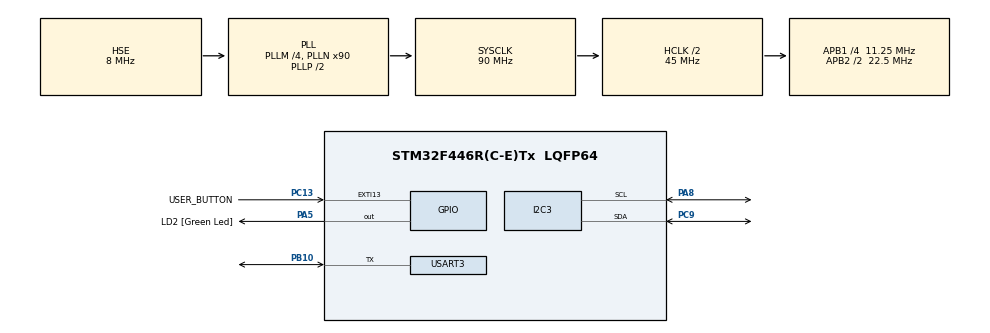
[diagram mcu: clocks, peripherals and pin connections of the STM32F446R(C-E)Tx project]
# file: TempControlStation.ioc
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Dma.I2C3_RX.0.Direction=DMA_PERIPH_TO_MEMORY
Dma.I2C3_RX.0.FIFOMode=DMA_FIFOMODE_DISABLE
Dma.I2C3_RX.0.Instance=DMA1_Stream1
Dma.I2C3_RX.0.MemDataAlignment=DMA_MDATAALIGN_BYTE
Dma.I2C3_RX.0.MemInc=DMA_MINC_ENABLE
Dma.I2C3_RX.0.Mode=DMA_NORMAL
Dma.I2C3_RX.0.PeriphDataAlignment=DMA_PDATAALIGN_BYTE
Dma.I2C3_RX.0.PeriphInc=DMA_PINC_DISABLE
Dma.I2C3_RX.0.Priority=DMA_PRIORITY_LOW
Dma.Request0=I2C3_RX
FREERTOS.Queues01=temperatureQueue,16,uint16_t,0,Dynamic,NULL,NULL
FREERTOS.Tasks01=thermometerTask,24,256,StartThermometerTask,Default,NULL,Dynamic,NULL,NULL;lcdTask,8,256,StartLcdTask,Default,NULL,Dynamic,NULL,NULL;pressureTask,23,256,StartPressureTask,Default,NULL,Dynamic,NULL,NULL
FREERTOS.configENABLE_FPU=1
FREERTOS.configUSE_OS2_MUTEX=0
FREERTOS.configUSE_OS2_TIMER=0
FREERTOS.configUSE_TICKLESS_IDLE=1
Mcu.Family=STM32F4
Mcu.Name=STM32F446R(C-E)Tx
Mcu.Package=LQFP64
NVIC.DMA1_Stream1_IRQn=true\:5\:0\:false\:false\:true\:true\:false\:true
NVIC.EXTI15_10_IRQn=true\:5\:0\:false\:false\:true\:true\:true\:true
NVIC.I2C3_EV_IRQn=true\:5\:0\:false\:false\:true\:true\:true\:true
NVIC.PriorityGroup=NVIC_PRIORITYGROUP_4
NVIC.TIM6_DAC_IRQn=true\:0\:0\:false\:false\:true\:false\:false\:true
NVIC.TimeBase=TIM6_DAC_IRQn
NVIC.TimeBaseIP=TIM6
PA13.GPIO_Label=TMS
PA13.Mode=Serial_Wire
PA13.Signal=SYS_JTMS-SWDIO
PA14.GPIO_Label=TCK
PA14.Mode=Serial_Wire
PA14.Signal=SYS_JTCK-SWCLK
PA5.GPIO_Label=LD2 [Green Led]
PA5.Signal=GPIO_Output
PA8.Mode=I2C
PA8.Signal=I2C3_SCL
PB10.GPIO_PuPd=GPIO_PULLUP
PB10.Mode=Half_duplex(single_wire_mode)
PB10.Signal=USART3_TX
PB3.GPIO_Label=SWO
PB3.Signal=SYS_JTDO-SWO
PC13.GPIO_Label=USER_BUTTON
PC13.GPIO_ModeDefaultEXTI=GPIO_MODE_IT_FALLING
PC13.Signal=GPXTI13
PC14-OSC32_IN.Mode=LSE-External-Oscillator
PC14-OSC32_IN.Signal=RCC_OSC32_IN
PC15-OSC32_OUT.Mode=LSE-External-Oscillator
PC15-OSC32_OUT.Signal=RCC_OSC32_OUT
PC9.Mode=I2C
PC9.Signal=I2C3_SDA
PH0-OSC_IN.Mode=HSE-External-Oscillator
PH0-OSC_IN.Signal=RCC_OSC_IN
PH1-OSC_OUT.Mode=HSE-External-Oscillator
PH1-OSC_OUT.Signal=RCC_OSC_OUT
ProjectManager.HeapSize=0x200
ProjectManager.StackSize=0x400
ProjectManager.TargetToolchain=Makefile
RCC.48MHZClocksFreq_Value=84000000
RCC.AHBCLKDivider=RCC_SYSCLK_DIV2
RCC.AHBFreq_Value=45000000
RCC.APB1CLKDivider=RCC_HCLK_DIV4
RCC.APB1Freq_Value=11250000
RCC.APB1TimFreq_Value=22500000
RCC.APB2CLKDivider=RCC_HCLK_DIV2
RCC.APB2Freq_Value=22500000
RCC.APB2TimFreq_Value=45000000
RCC.CortexFreq_Value=45000000
RCC.FLatency-AdvancedSettings=FLASH_LATENCY_1
RCC.HCLKFreq_Value=45000000
RCC.HSE_VALUE=8000000
RCC.HSI_VALUE=16000000
RCC.PLLM=4
RCC.PLLN=90
RCC.PLLSourceVirtual=RCC_PLLSOURCE_HSE
RCC.RCC_RTC_Clock_SourceVirtual=RCC_RTCCLKSOURCE_LSE
RCC.SYSCLKFreq_VALUE=90000000
RCC.SYSCLKSource=RCC_SYSCLKSOURCE_PLLCLK
RCC.USBFreq_Value=90000000
RCC.VCOOutputFreq_Value=180000000
USART3.BaudRate=9600
USART3.VirtualMode=VM_ASYNC
VP_FREERTOS_VS_CMSIS_V2.Mode=CMSIS_V2
VP_RTC_VS_RTC_Activate.Mode=RTC_Enabled
VP_RTC_VS_RTC_WakeUp_intern.Mode=WakeUp
VP_SYS_VS_tim6.Mode=TIM6
board=NUCLEO-F446RE

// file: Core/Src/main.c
/* USER CODE BEGIN Header */
/**
  ******************************************************************************
  * @file           : main.c
  * @brief          : Main program body
  ******************************************************************************
  * @attention
  *
  * <h2><center>&copy; Copyright (c) 2021 STMicroelectronics.
  * All rights reserved.</center></h2>
  *
  * This software component is licensed by ST under Ultimate Liberty license
  * SLA0044, the "License"; You may not use this file except in compliance with
  * the License. You may obtain a copy of the License at:
  *                             www.st.com/SLA0044
  *
  ******************************************************************************
  */
/* USER CODE END Header */
#include "main.h"
#include "cmsis_os.h"
#include "dma.h"
#include "i2c.h"
#include "rtc.h"
#include "usart.h"
#include "gpio.h"

void SystemClock_Config(void);
void MX_FREERTOS_Init(void);

int main(void)
{

  /* MCU Configuration--------------------------------------------------------*/

  /* Reset of all peripherals, Initializes the Flash interface and the Systick. */
  HAL_Init();

  /* Configure the system clock */
  SystemClock_Config();

  /* Initialize all configured peripherals */
  MX_GPIO_Init();
  MX_DMA_Init();
  MX_USART3_UART_Init();
  MX_I2C3_Init();
  MX_RTC_Init();

  /* Init scheduler */
  osKernelInitialize();  /* Call init function for freertos objects (in freertos.c) */
  MX_FREERTOS_Init();
  /* Start scheduler */
  osKernelStart();

  /* We should never get here as control is now taken by the scheduler */
  /* Infinite loop */
  while (1)
  {

  }
}

void SystemClock_Config(void)
{
  RCC_OscInitTypeDef RCC_OscInitStruct = {0};
  RCC_ClkInitTypeDef RCC_ClkInitStruct = {0};
  RCC_PeriphCLKInitTypeDef PeriphClkInitStruct = {0};

  /** Configure the main internal regulator output voltage
  */
  __HAL_RCC_PWR_CLK_ENABLE();
  __HAL_PWR_VOLTAGESCALING_CONFIG(PWR_REGULATOR_VOLTAGE_SCALE3);
  /** Initializes the RCC Oscillators according to the specified parameters
  * in the RCC_OscInitTypeDef structure.
  */
  RCC_OscInitStruct.OscillatorType = RCC_OSCILLATORTYPE_HSE|RCC_OSCILLATORTYPE_LSE;
  RCC_OscInitStruct.HSEState = RCC_HSE_ON;
  RCC_OscInitStruct.LSEState = RCC_LSE_ON;
  RCC_OscInitStruct.PLL.PLLState = RCC_PLL_ON;
  RCC_OscInitStruct.PLL.PLLSource = RCC_PLLSOURCE_HSE;
  RCC_OscInitStruct.PLL.PLLM = 4;
  RCC_OscInitStruct.PLL.PLLN = 90;
  RCC_OscInitStruct.PLL.PLLP = RCC_PLLP_DIV2;
  RCC_OscInitStruct.PLL.PLLQ = 2;
  RCC_OscInitStruct.PLL.PLLR = 2;
  if (HAL_RCC_OscConfig(&RCC_OscInitStruct) != HAL_OK)
  {
    Error_Handler();
  }
  /** Initializes the CPU, AHB and APB buses clocks
  */
  RCC_ClkInitStruct.ClockType = RCC_CLOCKTYPE_HCLK|RCC_CLOCKTYPE_SYSCLK
                              |RCC_CLOCKTYPE_PCLK1|RCC_CLOCKTYPE_PCLK2;
  RCC_ClkInitStruct.SYSCLKSource = RCC_SYSCLKSOURCE_PLLCLK;
  RCC_ClkInitStruct.AHBCLKDivider = RCC_SYSCLK_DIV2;
  RCC_ClkInitStruct.APB1CLKDivider = RCC_HCLK_DIV4;
  RCC_ClkInitStruct.APB2CLKDivider = RCC_HCLK_DIV2;

  if (HAL_RCC_ClockConfig(&RCC_ClkInitStruct, FLASH_LATENCY_1) != HAL_OK)
  {
    Error_Handler();
  }
  PeriphClkInitStruct.PeriphClockSelection = RCC_PERIPHCLK_RTC;
  PeriphClkInitStruct.RTCClockSelection = RCC_RTCCLKSOURCE_LSE;
  if (HAL_RCCEx_PeriphCLKConfig(&PeriphClkInitStruct) != HAL_OK)
  {
    Error_Handler();
  }
}

 /**
  * @brief  Period elapsed callback in non blocking mode
  * @note   This function is called  when TIM6 interrupt took place, inside
  * HAL_TIM_IRQHandler(). It makes a direct call to HAL_IncTick() to increment
  * a global variable "uwTick" used as application time base.
  * @param  htim : TIM handle
  * @retval None
  */
void HAL_TIM_PeriodElapsedCallback(TIM_HandleTypeDef *htim)
{
  if (htim->Instance == TIM6) {
    HAL_IncTick();
  }
}

void Error_Handler(void)
{
  __disable_irq();
  while (1)
  {
  }
}

/************************ (C) COPYRIGHT STMicroelectronics *****END OF FILE****/

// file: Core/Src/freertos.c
/* USER CODE BEGIN Header */
/**
  ******************************************************************************
  * File Name          : freertos.c
  * Description        : Code for freertos applications
  ******************************************************************************
  * @attention
  *
  * <h2><center>&copy; Copyright (c) 2021 STMicroelectronics.
  * All rights reserved.</center></h2>
  *
  * This software component is licensed by ST under Ultimate Liberty license
  * SLA0044, the "License"; You may not use this file except in compliance with
  * the License. You may obtain a copy of the License at:
  *                             www.st.com/SLA0044
  *
  ******************************************************************************
  */
/* USER CODE END Header */

#include "FreeRTOS.h"
#include "task.h"
#include "main.h"
#include "cmsis_os.h"

/* USER CODE BEGIN Includes */
#include "rtc.h"
#include "i2c.h"
#include "HD44780_LCD.h"
#include "DS18B20.h"
#include "LPS25HB.h"
/* USER CODE END Includes */

/* USER CODE BEGIN PTD */

/**
 * @brief Enum used for changing temperature unit after button press.
 *
 */
typedef enum
{
  DISPLAY_CELSIUS,
  DISPLAY_FAHRENHEIT
} Temperature_UnitTypeDef;
/* USER CODE END PTD */

/* USER CODE BEGIN PD */
#define BLUE_BUTTON_PRESSED 0x01         ///Macro used with LcdThreadFlag in USER_BUTTON interrupt.
#define LPS25HB_DMA_Complete 0x02        ///Macro used with LcdThreadFlag in DMA interrupt
#define DS18B20_Conversion_Complete 0x04 ///Macro used with LcdThreadFlag with DS18B20 sensor.

#define DEGREE_CHARACTER 0xDF ///Define used to display degree char.
/* USER CODE END PD */

/* USER CODE BEGIN Variables */

/**
 * @brief Global variable used by pressureTask to write pressure value from the LPS25HB and by LCD to display current value.
 *
 */
int32_t pressure = 0;
/* USER CODE END Variables */
/* Definitions for thermometerTask */
osThreadId_t thermometerTaskHandle;
const osThreadAttr_t thermometerTask_attributes = {
    .name = "thermometerTask",
    .stack_size = 256 * 4,
    .priority = (osPriority_t)osPriorityNormal,
};
/* Definitions for lcdTask */
osThreadId_t lcdTaskHandle;
const osThreadAttr_t lcdTask_attributes = {
    .name = "lcdTask",
    .stack_size = 256 * 4,
    .priority = (osPriority_t)osPriorityLow,
};
/* Definitions for pressureTask */
osThreadId_t pressureTaskHandle;
const osThreadAttr_t pressureTask_attributes = {
    .name = "pressureTask",
    .stack_size = 256 * 4,
    .priority = (osPriority_t)osPriorityBelowNormal7,
};
/* Definitions for temperatureQueue */
osMessageQueueId_t temperatureQueueHandle;
const osMessageQueueAttr_t temperatureQueue_attributes = {
    .name = "temperatureQueue"};

void StartThermometerTask(void *argument);
void StartLcdTask(void *argument);
void StartPressureTask(void *argument);

void MX_FREERTOS_Init(void); /* (MISRA C 2004 rule 8.1) */

/* USER CODE BEGIN PREPOSTSLEEP */
__weak void PreSleepProcessing(uint32_t ulExpectedIdleTime)
{
  HAL_RTCEx_SetWakeUpTimer(&hrtc, ulExpectedIdleTime * 2, RTC_WAKEUPCLOCK_RTCCLK_DIV16);
  HAL_SuspendTick();
}

__weak void PostSleepProcessing(uint32_t ulExpectedIdleTime)
{
  HAL_ResumeTick();
  HAL_RTCEx_DeactivateWakeUpTimer(&hrtc);
}
/* USER CODE END PREPOSTSLEEP */

void MX_FREERTOS_Init(void)
{

  /* Create the queue(s) */
  /* creation of temperatureQueue */
  temperatureQueueHandle = osMessageQueueNew(16, sizeof(uint16_t), &temperatureQueue_attributes);

  /* Create the thread(s) */
  /* creation of thermometerTask */
  thermometerTaskHandle = osThreadNew(StartThermometerTask, NULL, &thermometerTask_attributes);

  /* creation of lcdTask */
  lcdTaskHandle = osThreadNew(StartLcdTask, NULL, &lcdTask_attributes);

  /* creation of pressureTask */
  pressureTaskHandle = osThreadNew(StartPressureTask, NULL, &pressureTask_attributes);

}

void StartThermometerTask(void *argument)
{
  /* USER CODE BEGIN StartThermometerTask */
  DS18B20_HandleTypeDef ds18b20 = DS18B20_Create(&huart3);

  /* Infinite loop */
  for (;;)
  {
    volatile HAL_StatusTypeDef status = HAL_OK;
    //get temperature from sensor and send it to the LCD task
    status += DS18B20_Initialize(&ds18b20);
    osDelay(1);
    if (status == HAL_OK)
    {
      DS18B20_Start_Conversion(&ds18b20); //start conversion
      osDelay(800); //give time for conversion. other tasks can do their thing now
    }
    status += DS18B20_Initialize(&ds18b20);
    if (status == HAL_OK)
    {
      osDelay(1);
      uint16_t temperature = DS18B20_Read_Temperature(&ds18b20);
      osMessageQueuePut(temperatureQueueHandle, &temperature, 0, 10); //sends temperature value do LCD
      osThreadFlagsSet(lcdTaskHandle, DS18B20_Conversion_Complete);   //tels LCD that temperature is ready to be displayed
    }
    osDelay(100);
  }
  /* USER CODE END StartThermometerTask */
}

void StartLcdTask(void *argument)
{
  /* USER CODE BEGIN StartLcdTask */

  Lcd_HandleTypeDef lcd = Lcd_Create(&hi2c3, 0x4E); //0x4E is default slave address
  int temperature_unit = DISPLAY_CELSIUS;           //default display unit in celsius
  uint16_t temperature = 0;
  int error_flag = 0; //used to repaint whole LCD after an error
  volatile osStatus_t ds18b20_status = osOK;
  Lcd_Clear(&lcd);
  Lcd_Cursor(&lcd, 0, 0);
  Lcd_String(&lcd, "Temp:");
  Lcd_Cursor(&lcd, 0, 14);
  Lcd_Hex(&lcd, DEGREE_CHARACTER);
  Lcd_Cursor(&lcd, 1, 0);
  Lcd_String(&lcd, "Pres:");
  Lcd_Cursor(&lcd, 1, 13);
  Lcd_String(&lcd, "hPa");
  /* Infinite loop */
  for (;;)
  {
    if ((osThreadFlagsGet() & LPS25HB_DMA_Complete) == LPS25HB_DMA_Complete) //if there is updated pressure value
    {
      Lcd_Cursor(&lcd, 1, 5);
      Lcd_Float_Decimal(&lcd, (float)pressure / 4096, 2); //dividing result value in order to achieve hPa
      osThreadFlagsClear(LPS25HB_DMA_Complete);
    }
    if ((osThreadFlagsGet() & BLUE_BUTTON_PRESSED) == BLUE_BUTTON_PRESSED)
    {
      //on blue button press change temp unit
      temperature_unit = (temperature_unit == DISPLAY_CELSIUS) ? DISPLAY_FAHRENHEIT : DISPLAY_CELSIUS;
      osThreadFlagsClear(BLUE_BUTTON_PRESSED);
    }
    if ((osThreadFlagsGet() & DS18B20_Conversion_Complete) == DS18B20_Conversion_Complete)
    {
      //if there is new temperature value
      ds18b20_status = osMessageQueueGet(temperatureQueueHandle, &temperature, NULL, 10); //get temperature from sensor
      osThreadFlagsClear(DS18B20_Conversion_Complete);
    }
    if (ds18b20_status != osOK) //if temperature sensor returned error code
    {
      Lcd_Clear(&lcd);
      Lcd_Cursor(&lcd, 0, 0);
      Lcd_String(&lcd, "TMP ERROR");
      error_flag = 1;
    }
    else
    {
      if (error_flag == 1) //if there was an error before, but now there is a correct reading
      {                    //used to redraw lcd screen after "TMP ERROR" message
        error_flag = 0;
        Lcd_Clear(&lcd);
        Lcd_Cursor(&lcd, 0, 0);
        Lcd_String(&lcd, "Temp:");
        Lcd_Cursor(&lcd, 0, 14);
        Lcd_Hex(&lcd, DEGREE_CHARACTER);
      }
      Lcd_Cursor(&lcd, 0, 5);

      if (temperature_unit == DISPLAY_CELSIUS)
      {
        Lcd_Float(&lcd, (float)temperature / 16); //celsius conversion
        Lcd_String(&lcd, " C");
      }
      else
      {
        Lcd_Float(&lcd, (float)temperature * 0.1125 + 32); //fahrenheit conversion
        Lcd_String(&lcd, " F");
      }
    }

    osDelay(50);
  }
  /* USER CODE END StartLcdTask */
}

void StartPressureTask(void *argument)
{
  /* USER CODE BEGIN StartPressureTask */
  LPS25HB_HandleTypeDef lps25hb = LPS25HB_Create(&hi2c3, LPS25HB_ADDR); //creating instance of the peripheral
  LPS25HB_Set_Frequency(&lps25hb, _1_HZ);                               //setting freq
  osDelay(100);

  /* Infinite loop */
  for (;;)
  {
    LPS25HB_Read_Pressure_DMA(&lps25hb, &pressure);
    osDelay(1000); //1 Hz
  }
  /* USER CODE END StartPressureTask */
}

/* USER CODE BEGIN Application */

void HAL_I2C_MemRxCpltCallback(I2C_HandleTypeDef *hi2c)
{
  if (hi2c == &hi2c3)
  {
    osThreadFlagsSet(lcdTaskHandle, LPS25HB_DMA_Complete); //sends msg to LCD about new pressure value
  }
}

void HAL_GPIO_EXTI_Callback(uint16_t GPIO_Pin)
{
  if (GPIO_Pin == USER_BUTTON_Pin) //on USER_BUTTON press send flag to change temp unit
  {
    osThreadFlagsSet(lcdTaskHandle, BLUE_BUTTON_PRESSED);
  }
}
/* USER CODE END Application */

/************************ (C) COPYRIGHT STMicroelectronics *****END OF FILE****/
